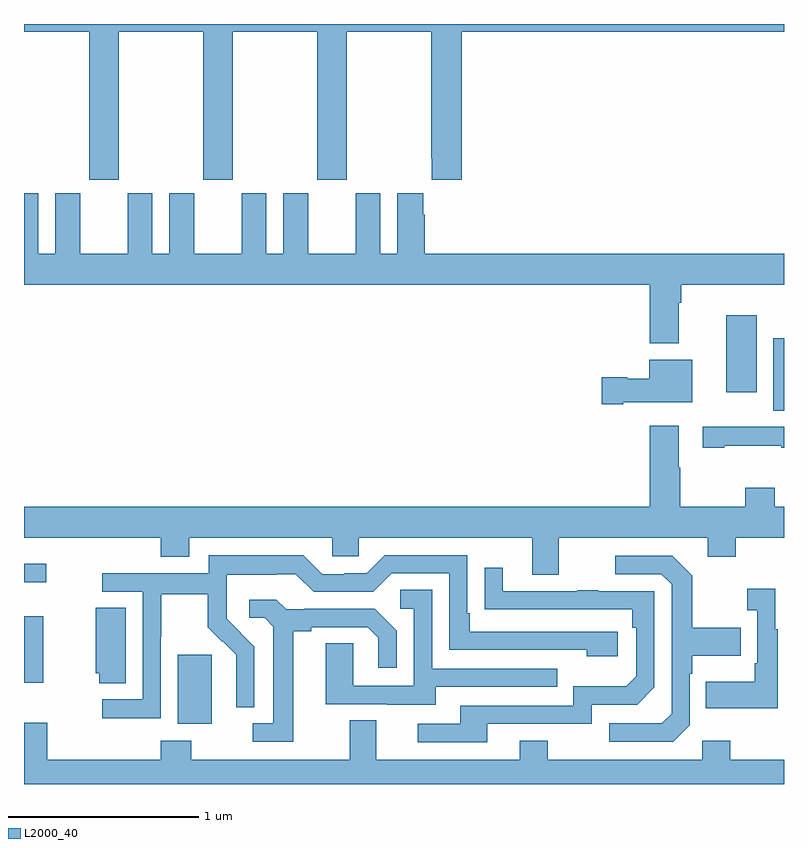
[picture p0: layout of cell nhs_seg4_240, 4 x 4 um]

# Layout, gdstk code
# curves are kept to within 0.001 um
import gdstk
lib = gdstk.Library(unit=1e-6, precision=1e-09)
def R(c, l, rs):  # rectangles x0, y0, x1, y1
    for r in rs: c.add(gdstk.rectangle(r[:2], r[2:], *l))
def P(c, l, *ps):  # polygons
    for p in ps: c.add(gdstk.Polygon(p, *l))
L2000_40 = (2000, 40)

nhs_seg4_240 = lib.new_cell('nhs_seg4_240')
R(nhs_seg4_240, L2000_40, [(123.809,753.218,123.988,753.579), (123,753.432,123.1,753.784), (123,753.963,123.118,754.06), (126.944,754.864,127,755.245), (126.695,754.962,126.856,755.368)])
P(nhs_seg4_240, L2000_40, [(123.498,756.86),(123.943,756.86),(123.943,756.081),(124.098,756.081),(124.098,756.86),(124.543,756.86),(124.543,756.081),(124.698,756.081),(124.698,756.86),(125.143,756.86),(125.143,756.193),(125.147,756.193),(125.147,756.081),(125.303,756.081),(125.303,756.86),(127,756.86),(127,756.9),(123,756.9),(123,756.86),(123.343,756.86),(123.343,756.081),(123.498,756.081)],
  [(126.445,755.432),(126.458,755.432),(126.458,755.528),(127,755.528),(127,755.692),(125.108,755.692),(125.108,755.897),(125.101,755.897),(125.101,756.01),(124.964,756.01),(124.964,755.692),(124.876,755.692),(124.876,756.01),(124.745,756.01),(124.745,755.692),(124.495,755.692),(124.495,756.01),(124.364,756.01),(124.364,755.692),(124.276,755.692),(124.276,756.01),(124.145,756.01),(124.145,755.692),(123.895,755.692),(123.895,756.01),(123.764,756.01),(123.764,755.692),(123.676,755.692),(123.676,756.01),(123.545,756.01),(123.545,755.692),(123.295,755.692),(123.295,756.01),(123.164,756.01),(123.164,755.692),(123.076,755.692),(123.076,756.01),(123,756.01),(123,755.528),(126.293,755.528),(126.293,755.219),(126.445,755.219)],
  [(126.154,754.91),(126.517,754.91),(126.517,755.134),(126.29,755.134),(126.29,755.032),(126.174,755.032),(126.174,755.04),(126.042,755.04),(126.042,754.898),(126.154,754.898)],
  [(125.815,754.196),(126.599,754.196),(126.599,754.097),(126.747,754.097),(126.747,754.196),(127,754.196),(127,754.36),(126.951,754.36),(126.951,754.459),(126.796,754.459),(126.796,754.36),(126.453,754.36),(126.453,754.565),(126.445,754.565),(126.445,754.786),(126.293,754.786),(126.293,754.36),(123,754.36),(123,754.196),(123.719,754.196),(123.719,754.097),(123.871,754.097),(123.871,754.196),(124.623,754.196),(124.623,754.098),(124.761,754.098),(124.761,754.196),(125.675,754.196),(125.675,754.002),(125.815,754.002)],
  [(126.685,754.681),(126.986,754.681),(126.986,754.671),(127,754.671),(127,754.779),(126.848,754.779),(126.848,754.781),(126.573,754.781),(126.573,754.671),(126.685,754.671)],
  [(123.624,753.912),(123.624,753.345),(123.411,753.345),(123.411,753.247),(123.72,753.247),(123.72,753.676),(123.723,753.676),(123.723,753.9),(123.967,753.9),(123.967,753.725),(124.044,753.648),(124.047,753.651),(124.118,753.581),(124.118,753.458),(124.116,753.458),(124.116,753.304),(124.212,753.304),(124.212,753.622),(124.066,753.77),(124.066,753.867),(124.068,753.867),(124.068,754.001),(124.331,754.001),(124.331,754.005),(124.431,754.005),(124.524,753.912),(124.839,753.912),(124.935,754.008),(125.238,754.008),(125.238,753.606),(125.963,753.606),(125.963,753.572),(126.124,753.572),(126.124,753.702),(125.347,753.702),(125.347,753.799),(125.334,753.799),(125.334,754.104),(124.899,754.104),(124.803,754.008),(124.685,754.008),(124.685,754.005),(124.569,754.005),(124.469,754.105),(123.972,754.105),(123.972,754.008),(123.411,754.008),(123.411,753.912)],
  [(126.504,753.21),(126.504,753.479),(126.517,753.479),(126.517,753.575),(126.773,753.575),(126.773,753.723),(126.517,753.723),(126.517,753.995),(126.411,754.101),(126.111,754.101),(126.111,754.005),(126.354,754.005),(126.408,753.951),(126.408,753.27),(126.357,753.219),(126.081,753.219),(126.081,753.123),(126.417,753.123)],
  [(125.437,753.216),(125.988,753.216),(125.988,753.318),(126.228,753.318),(126.318,753.408),(126.318,753.915),(126.023,753.915),(126.023,753.92),(125.911,753.92),(125.911,753.915),(125.521,753.915),(125.521,754.039),(125.425,754.039),(125.425,753.82),(126.202,753.819),(126.202,753.722),(126.222,753.722),(126.222,753.468),(126.169,753.415),(125.892,753.415),(125.892,753.312),(125.297,753.312),(125.297,753.216),(125.073,753.216),(125.073,753.12),(125.437,753.12)],
  [(126.967,753.715),(126.955,753.715),(126.955,753.928),(126.807,753.928),(126.807,753.815),(126.858,753.815),(126.858,753.535),(126.846,753.535),(126.846,753.439),(126.589,753.439),(126.589,753.299),(126.967,753.299)],
  [(125.167,753.411),(125.807,753.411),(125.807,753.507),(125.148,753.507),(125.148,753.923),(124.98,753.923),(124.98,753.822),(125.052,753.822),(125.052,753.417),(124.734,753.417),(124.734,753.641),(124.589,753.641),(124.589,753.321),(124.913,753.321),(124.913,753.317),(125.167,753.317)],
  [(124.417,753.704),(124.513,753.704),(124.513,753.726),(124.808,753.726),(124.865,753.669),(124.865,753.513),(124.962,753.513),(124.962,753.706),(124.846,753.822),(124.474,753.822),(124.474,753.819),(124.38,753.819),(124.328,753.871),(124.185,753.871),(124.185,753.774),(124.266,753.774),(124.313,753.727),(124.313,753.219),(124.203,753.219),(124.203,753.123),(124.417,753.123)],
  [(123.535,753.827),(123.377,753.827),(123.377,753.483),(123.397,753.483),(123.397,753.43),(123.535,753.43)],
  [(127,753.028),(126.717,753.028),(126.717,753.127),(126.57,753.127),(126.57,753.028),(125.757,753.028),(125.757,753.127),(125.609,753.127),(125.609,753.028),(124.855,753.028),(124.855,753.236),(124.715,753.236),(124.715,753.028),(123.879,753.028),(123.879,753.127),(123.719,753.127),(123.719,753.028),(123.122,753.028),(123.122,753.223),(123,753.223),(123,752.9),(127,752.9)])

lib.write_gds('nhs_seg4_240.gds')
